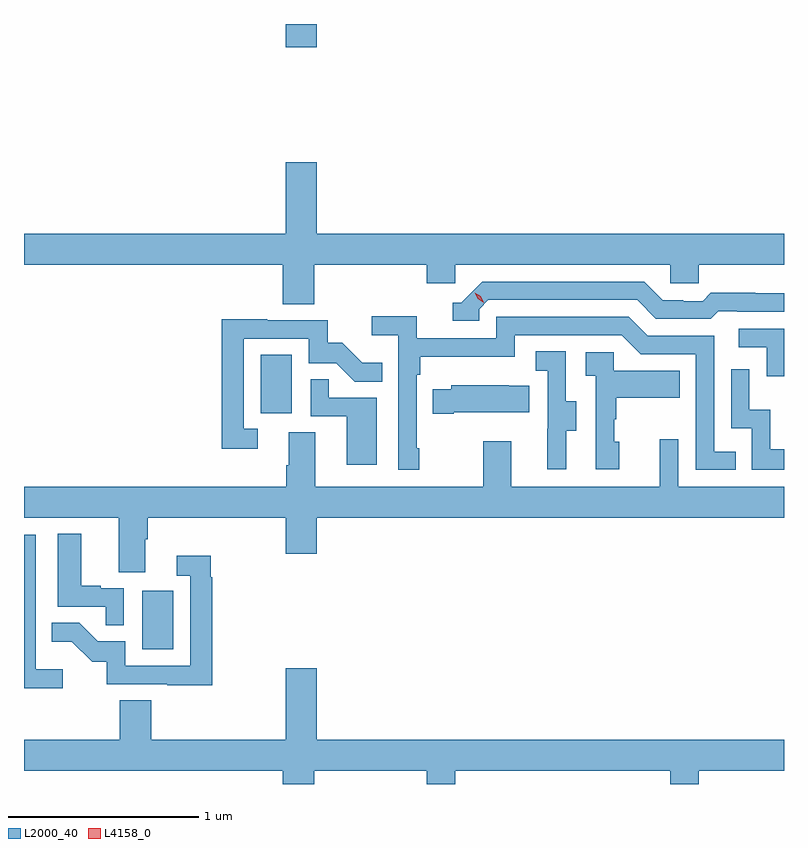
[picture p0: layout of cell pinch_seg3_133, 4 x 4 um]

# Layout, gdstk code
import gdstk
lib = gdstk.Library(unit=1e-6, precision=1e-09)
def R(c, l, rs):  # rectangles x0, y0, x1, y1
    for r in rs: c.add(gdstk.rectangle(r[:2], r[2:], *l))
def P(c, l, *ps):  # polygons
    for p in ps: c.add(gdstk.Polygon(p, *l))
L2000_40 = (2000, 40)
L4158_0 = (4158, 0)

pinch_seg3_133 = lib.new_cell('pinch_seg3_133')
R(pinch_seg3_133, L2000_40, [(1141.274,712.212,1141.438,712.519), (1141.898,713.454,1142.062,713.761), (1142.03,715.38,1142.194,715.503)])
P(pinch_seg3_133, L2000_40, [(1142.18,714.236),(1142.771,714.236),(1142.771,714.138),(1142.922,714.138),(1142.922,714.236),(1144.053,714.236),(1144.053,714.138),(1144.203,714.138),(1144.203,714.236),(1144.652,714.236),(1144.652,714.4),(1142.194,714.4),(1142.194,714.775),(1142.03,714.775),(1142.03,714.4),(1140.652,714.4),(1140.652,714.236),(1142.015,714.236),(1142.015,714.028),(1142.18,714.028)],
  [(1143.048,714.003),(1143.096,714.051),(1143.879,714.051),(1143.978,713.952),(1144.267,713.952),(1144.306,713.991),(1144.405,713.991),(1144.405,713.988),(1144.652,713.988),(1144.652,714.085),(1144.5,714.085),(1144.5,714.088),(1144.267,714.088),(1144.225,714.045),(1144.122,714.045),(1144.122,714.048),(1144.015,714.048),(1143.916,714.147),(1143.063,714.147),(1142.952,714.036),(1142.909,714.036),(1142.909,713.94),(1143.048,713.94)],
  [(1142.731,713.269),(1142.718,713.269),(1142.718,713.657),(1142.738,713.657),(1142.738,713.753),(1143.234,713.753),(1143.234,713.865),(1143.798,713.865),(1143.897,713.766),(1144.188,713.766),(1144.188,713.157),(1144.397,713.157),(1144.397,713.253),(1144.284,713.253),(1144.284,713.862),(1143.934,713.862),(1143.835,713.961),(1143.138,713.961),(1143.138,713.85),(1142.72,713.85),(1142.72,713.966),(1142.481,713.966),(1142.481,713.864),(1142.622,713.864),(1142.622,713.157),(1142.731,713.157)],
  [(1141.882,713.373),(1141.809,713.373),(1141.809,713.847),(1142.151,713.847),(1142.151,713.718),(1142.295,713.718),(1142.393,713.62),(1142.537,713.62),(1142.537,713.719),(1142.433,713.719),(1142.326,713.826),(1142.25,713.826),(1142.25,713.943),(1141.931,713.943),(1141.931,713.948),(1141.693,713.948),(1141.693,713.268),(1141.882,713.268)],
  [(1144.652,713.898),(1144.413,713.898),(1144.413,713.802),(1144.56,713.802),(1144.56,713.649),(1144.652,713.649)],
  [(1143.505,713.362),(1143.559,713.362),(1143.559,713.517),(1143.504,713.517),(1143.504,713.78),(1143.345,713.78),(1143.345,713.677),(1143.408,713.677),(1143.408,713.373),(1143.407,713.373),(1143.407,713.16),(1143.505,713.16)],
  [(1143.784,713.304),(1143.759,713.304),(1143.759,713.423),(1143.769,713.423),(1143.769,713.537),(1144.103,713.537),(1144.103,713.677),(1143.756,713.677),(1143.756,713.775),(1143.609,713.775),(1143.609,713.651),(1143.66,713.651),(1143.66,713.16),(1143.784,713.16)],
  [(1144.652,713.266),(1144.58,713.266),(1144.58,713.474),(1144.47,713.474),(1144.47,713.686),(1144.374,713.686),(1144.374,713.376),(1144.482,713.376),(1144.482,713.157),(1144.652,713.157)],
  [(1142.509,713.535),(1142.255,713.535),(1142.255,713.633),(1142.16,713.633),(1142.16,713.439),(1142.351,713.439),(1142.351,713.184),(1142.509,713.184)],
  [(1142.914,713.459),(1143.311,713.459),(1143.311,713.599),(1143.203,713.599),(1143.203,713.602),(1142.901,713.602),(1142.901,713.581),(1142.803,713.581),(1142.803,713.452),(1142.914,713.452)],
  [(1141.291,712.792),(1141.304,712.792),(1141.304,712.904),(1142.03,712.904),(1142.03,712.716),(1142.194,712.716),(1142.194,712.904),(1144.652,712.904),(1144.652,713.068),(1144.095,713.068),(1144.095,713.317),(1143.998,713.317),(1143.998,713.068),(1143.217,713.068),(1143.217,713.308),(1143.07,713.308),(1143.07,713.068),(1142.185,713.068),(1142.185,713.354),(1142.045,713.354),(1142.045,713.18),(1142.033,713.18),(1142.033,713.068),(1140.652,713.068),(1140.652,712.904),(1141.151,712.904),(1141.151,712.618),(1141.291,712.618)],
  [(1141.176,712.533),(1141.055,712.533),(1141.055,712.546),(1140.952,712.546),(1140.952,712.819),(1140.83,712.819),(1140.83,712.437),(1141.081,712.437),(1141.081,712.339),(1141.176,712.339)],
  [(1140.856,712.108),(1140.714,712.108),(1140.714,712.816),(1140.652,712.816),(1140.652,712.006),(1140.856,712.006)],
  [(1141.643,712.592),(1141.636,712.592),(1141.636,712.705),(1141.455,712.705),(1141.455,712.599),(1141.527,712.599),(1141.527,712.125),(1141.185,712.125),(1141.185,712.254),(1141.04,712.254),(1140.942,712.352),(1140.799,712.352),(1140.799,712.253),(1140.903,712.253),(1141.01,712.146),(1141.087,712.146),(1141.087,712.029),(1141.405,712.029),(1141.405,712.024),(1141.643,712.024)],
  [(1142.18,711.572),(1142.771,711.572),(1142.771,711.503),(1142.922,711.503),(1142.922,711.572),(1144.053,711.572),(1144.053,711.503),(1144.203,711.503),(1144.203,711.572),(1144.652,711.572),(1144.652,711.736),(1142.194,711.736),(1142.194,712.111),(1142.03,712.111),(1142.03,711.736),(1141.322,711.736),(1141.322,711.944),(1141.157,711.944),(1141.157,711.736),(1140.652,711.736),(1140.652,711.572),(1142.015,711.572),(1142.015,711.503),(1142.18,711.503)])
P(pinch_seg3_133, L4158_0, [(1143.071,714.037),(1143.041,714.056),(1143.025,714.088),(1143.025,714.089),(1143.025,714.089),(1143.056,714.07),(1143.072,714.037),(1143.072,714.037)])

lib.write_gds('pinch_seg3_133.gds')
